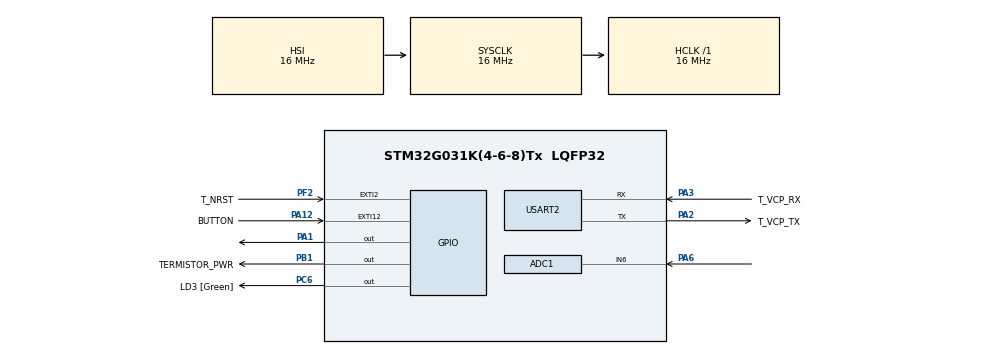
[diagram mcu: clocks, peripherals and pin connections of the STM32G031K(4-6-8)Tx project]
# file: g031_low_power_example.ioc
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ADC1.Channel-0\#ChannelRegularConversion=ADC_CHANNEL_6
ADC1.NbrOfConversionFlag=1
ADC1.Rank-0\#ChannelRegularConversion=1
ADC1.SamplingTime-0\#ChannelRegularConversion=ADC_SAMPLINGTIME_COMMON_1
ADC1.SelectedChannel=ADC_CHANNEL_6
ADC1.master=1
LPTIM1.ClockPrescaler=LPTIM_PRESCALER_DIV8
LPTIM1.UpdateMode=LPTIM_UPDATE_ENDOFPERIOD
Mcu.Family=STM32G0
Mcu.Name=STM32G031K(4-6-8)Tx
Mcu.Package=LQFP32
NVIC.EXTI2_3_IRQn=true\:0\:0\:false\:false\:true\:true\:true\:true
NVIC.EXTI4_15_IRQn=true\:0\:0\:false\:false\:true\:true\:true\:true
NVIC.LPTIM1_IRQn=true\:0\:0\:false\:false\:true\:true\:true\:true
PA1.Signal=GPIO_Output
PA12\ [PA10].GPIO_Label=BUTTON
PA12\ [PA10].GPIO_ModeDefaultEXTI=GPIO_MODE_IT_FALLING
PA12\ [PA10].GPIO_PuPd=GPIO_PULLUP
PA12\ [PA10].Signal=GPXTI12
PA13.GPIO_Label=T_JTMS
PA13.Mode=Serial_Wire
PA13.Signal=SYS_SWDIO
PA14-BOOT0.GPIO_Label=T_JTCK
PA14-BOOT0.Mode=Serial_Wire
PA14-BOOT0.Signal=SYS_SWCLK
PA2.GPIO_Label=T_VCP_TX
PA2.GPIO_PuPd=GPIO_PULLUP
PA2.Mode=Asynchronous
PA2.Signal=USART2_TX
PA3.GPIO_Label=T_VCP_RX
PA3.GPIO_PuPd=GPIO_PULLUP
PA3.Mode=Asynchronous
PA3.Signal=USART2_RX
PA6.Mode=IN6
PA6.Signal=ADC1_IN6
PB1.GPIO_Label=TERMISTOR_PWR
PB1.Signal=GPIO_Output
PC14-OSC32_IN\ (PC14).Mode=LSE-External-Oscillator
PC14-OSC32_IN\ (PC14).Signal=RCC_OSC32_IN
PC15-OSC32_OUT\ (PC15).Mode=LSE-External-Oscillator
PC15-OSC32_OUT\ (PC15).Signal=RCC_OSC32_OUT
PC6.GPIO_Label=LD3 [Green]
PC6.Signal=GPIO_Output
PF2\ -\ NRST.GPIO_Label=T_NRST
PF2\ -\ NRST.Signal=GPXTI2
ProjectManager.HeapSize=0x200
ProjectManager.StackSize=0x400
ProjectManager.TargetToolchain=STM32CubeIDE
RCC.AHBFreq_Value=16000000
RCC.CortexFreq_Value=16000000
RCC.EXTERNAL_CLOCK_VALUE=12288000
RCC.HCLKFreq_Value=16000000
RCC.HSE_VALUE=8000000
RCC.HSI_VALUE=16000000
RCC.LPTIM1CLockSelection=RCC_LPTIM1CLKSOURCE_LSE
RCC.SYSCLKFreq_VALUE=16000000
RCC.VCOOutputFreq_Value=128000000
USART2.VirtualMode-Asynchronous=VM_ASYNC
USART2.WordLength=WORDLENGTH_8B
VP_LPTIM1_VS_LPTIM_counterModeInternalClock.Mode=Counts__internal_clock_event_00
board=NUCLEO-G031K8

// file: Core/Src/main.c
/* USER CODE BEGIN Header */
/**
  ******************************************************************************
  * @file           : main.c
  * @brief          : Main program body
  ******************************************************************************
  * @attention
  *
  * Copyright (c) 2022 STMicroelectronics.
  * All rights reserved.
  *
  * This software is licensed under terms that can be found in the LICENSE file
  * in the root directory of this software component.
  * If no LICENSE file comes with this software, it is provided AS-IS.
  *
  ******************************************************************************
  */
/* USER CODE END Header */
#include "main.h"

/* USER CODE BEGIN Includes */
#include <stdio.h>
#include <math.h>
#include <string.h>
/* USER CODE END Includes */

/* USER CODE BEGIN PD */
#define RESISTOR_REAL_VALUE 10000
#define Termistor_on() HAL_GPIO_WritePin(TERMISTOR_PWR_GPIO_Port, TERMISTOR_PWR_Pin, GPIO_PIN_SET)
#define Termistor_off() HAL_GPIO_WritePin(TERMISTOR_PWR_GPIO_Port, TERMISTOR_PWR_Pin, GPIO_PIN_RESET)
/* USER CODE END PD */

ADC_HandleTypeDef hadc1;

LPTIM_HandleTypeDef hlptim1;

UART_HandleTypeDef huart2;

/* USER CODE BEGIN PV */
volatile uint32_t timer_last_press;
volatile uint8_t sleep_flag;
/* USER CODE END PV */

void SystemClock_Config(void);
static void MX_GPIO_Init(void);
static void MX_USART2_UART_Init(void);
static void MX_ADC1_Init(void);
static void MX_LPTIM1_Init(void);
/* USER CODE BEGIN PFP */
void HAL_LPTIM_CompareMatchCallback(LPTIM_HandleTypeDef *hlptim);
void HAL_GPIO_EXTI_Callback(uint16_t GPIO_Pin);
float getTempFromTermistor(uint16_t adc_val);
size_t __write(int handle, const unsigned char * buffer, size_t size)
{
  HAL_UART_Transmit(&huart2, (uint8_t *) buffer, size, HAL_MAX_DELAY);
  return size;
}
int __io_putchar(int ch)
{
  HAL_UART_Transmit(&huart2, (uint8_t *)&ch, 1, HAL_MAX_DELAY);
  return ch;
}
/* USER CODE END PFP */

int main(void)
{

  /* MCU Configuration--------------------------------------------------------*/

  /* Reset of all peripherals, Initializes the Flash interface and the Systick. */
  HAL_Init();

  /* Configure the system clock */
  SystemClock_Config();

  /* Initialize all configured peripherals */
  MX_GPIO_Init();
  MX_USART2_UART_Init();
  MX_ADC1_Init();
  MX_LPTIM1_Init();
  /* USER CODE BEGIN 2 */
  HAL_LPTIM_TimeOut_Start_IT(&hlptim1, 65536-1, 32768-1);
  printf("\r\n========Start low power test=======\r\n");

  /* USER CODE END 2 */

  /* Infinite loop */
  while (1)
  {

    /* USER CODE BEGIN 3 */
	  HAL_ADC_Start(&hadc1);
	  HAL_ADC_PollForConversion(&hadc1, HAL_MAX_DELAY);
	  char buff[32];
	  uint16_t adc_val = HAL_ADC_GetValue(&hadc1);
	  float temp = getTempFromTermistor(adc_val);
	  sprintf(buff, "Temperature %.1f*C\r\n", temp);
	  printf(buff);
	  if (HAL_GetTick() - timer_last_press > 15){
		  printf("go sleep\r\n");
		  Termistor_off();
	 	  sleep_flag = 1;
	 	  HAL_SuspendTick();
	 	  HAL_PWR_EnableSleepOnExit();
	 	  //HAL_PWR_EnterSTOPMode(PWR_MAINREGULATOR_ON, PWR_STOPENTRY_WFI);
	 	  HAL_PWR_EnterSLEEPMode(PWR_MAINREGULATOR_ON, PWR_STOPENTRY_WFI);
	 }
  }
  /* USER CODE END 3 */
}

void SystemClock_Config(void)
{
  RCC_OscInitTypeDef RCC_OscInitStruct = {0};
  RCC_ClkInitTypeDef RCC_ClkInitStruct = {0};

  /** Configure the main internal regulator output voltage
  */
  HAL_PWREx_ControlVoltageScaling(PWR_REGULATOR_VOLTAGE_SCALE1);

  /** Configure LSE Drive Capability
  */
  HAL_PWR_EnableBkUpAccess();
  __HAL_RCC_LSEDRIVE_CONFIG(RCC_LSEDRIVE_LOW);

  /** Initializes the RCC Oscillators according to the specified parameters
  * in the RCC_OscInitTypeDef structure.
  */
  RCC_OscInitStruct.OscillatorType = RCC_OSCILLATORTYPE_HSI|RCC_OSCILLATORTYPE_LSE;
  RCC_OscInitStruct.LSEState = RCC_LSE_ON;
  RCC_OscInitStruct.HSIState = RCC_HSI_ON;
  RCC_OscInitStruct.HSIDiv = RCC_HSI_DIV1;
  RCC_OscInitStruct.HSICalibrationValue = RCC_HSICALIBRATION_DEFAULT;
  RCC_OscInitStruct.PLL.PLLState = RCC_PLL_NONE;
  if (HAL_RCC_OscConfig(&RCC_OscInitStruct) != HAL_OK)
  {
    Error_Handler();
  }

  /** Initializes the CPU, AHB and APB buses clocks
  */
  RCC_ClkInitStruct.ClockType = RCC_CLOCKTYPE_HCLK|RCC_CLOCKTYPE_SYSCLK
                              |RCC_CLOCKTYPE_PCLK1;
  RCC_ClkInitStruct.SYSCLKSource = RCC_SYSCLKSOURCE_HSI;
  RCC_ClkInitStruct.AHBCLKDivider = RCC_SYSCLK_DIV1;
  RCC_ClkInitStruct.APB1CLKDivider = RCC_HCLK_DIV1;

  if (HAL_RCC_ClockConfig(&RCC_ClkInitStruct, FLASH_LATENCY_0) != HAL_OK)
  {
    Error_Handler();
  }
}

static void MX_ADC1_Init(void)
{

  ADC_ChannelConfTypeDef sConfig = {0};

  /** Configure the global features of the ADC (Clock, Resolution, Data Alignment and number of conversion)
  */
  hadc1.Instance = ADC1;
  hadc1.Init.ClockPrescaler = ADC_CLOCK_SYNC_PCLK_DIV2;
  hadc1.Init.Resolution = ADC_RESOLUTION_12B;
  hadc1.Init.DataAlign = ADC_DATAALIGN_RIGHT;
  hadc1.Init.ScanConvMode = ADC_SCAN_DISABLE;
  hadc1.Init.EOCSelection = ADC_EOC_SINGLE_CONV;
  hadc1.Init.LowPowerAutoWait = DISABLE;
  hadc1.Init.LowPowerAutoPowerOff = DISABLE;
  hadc1.Init.ContinuousConvMode = DISABLE;
  hadc1.Init.NbrOfConversion = 1;
  hadc1.Init.DiscontinuousConvMode = DISABLE;
  hadc1.Init.ExternalTrigConv = ADC_SOFTWARE_START;
  hadc1.Init.ExternalTrigConvEdge = ADC_EXTERNALTRIGCONVEDGE_NONE;
  hadc1.Init.DMAContinuousRequests = DISABLE;
  hadc1.Init.Overrun = ADC_OVR_DATA_PRESERVED;
  hadc1.Init.SamplingTimeCommon1 = ADC_SAMPLETIME_1CYCLE_5;
  hadc1.Init.SamplingTimeCommon2 = ADC_SAMPLETIME_1CYCLE_5;
  hadc1.Init.OversamplingMode = DISABLE;
  hadc1.Init.TriggerFrequencyMode = ADC_TRIGGER_FREQ_HIGH;
  if (HAL_ADC_Init(&hadc1) != HAL_OK)
  {
    Error_Handler();
  }

  /** Configure Regular Channel
  */
  sConfig.Channel = ADC_CHANNEL_6;
  sConfig.Rank = ADC_REGULAR_RANK_1;
  sConfig.SamplingTime = ADC_SAMPLINGTIME_COMMON_1;
  if (HAL_ADC_ConfigChannel(&hadc1, &sConfig) != HAL_OK)
  {
    Error_Handler();
  }

}

static void MX_LPTIM1_Init(void)
{

  hlptim1.Instance = LPTIM1;
  hlptim1.Init.Clock.Source = LPTIM_CLOCKSOURCE_APBCLOCK_LPOSC;
  hlptim1.Init.Clock.Prescaler = LPTIM_PRESCALER_DIV8;
  hlptim1.Init.Trigger.Source = LPTIM_TRIGSOURCE_SOFTWARE;
  hlptim1.Init.OutputPolarity = LPTIM_OUTPUTPOLARITY_HIGH;
  hlptim1.Init.UpdateMode = LPTIM_UPDATE_ENDOFPERIOD;
  hlptim1.Init.CounterSource = LPTIM_COUNTERSOURCE_INTERNAL;
  hlptim1.Init.Input1Source = LPTIM_INPUT1SOURCE_GPIO;
  hlptim1.Init.Input2Source = LPTIM_INPUT2SOURCE_GPIO;
  if (HAL_LPTIM_Init(&hlptim1) != HAL_OK)
  {
    Error_Handler();
  }

}

static void MX_USART2_UART_Init(void)
{

  huart2.Instance = USART2;
  huart2.Init.BaudRate = 115200;
  huart2.Init.WordLength = UART_WORDLENGTH_8B;
  huart2.Init.StopBits = UART_STOPBITS_1;
  huart2.Init.Parity = UART_PARITY_NONE;
  huart2.Init.Mode = UART_MODE_TX_RX;
  huart2.Init.HwFlowCtl = UART_HWCONTROL_NONE;
  huart2.Init.OverSampling = UART_OVERSAMPLING_16;
  huart2.Init.OneBitSampling = UART_ONE_BIT_SAMPLE_DISABLE;
  huart2.Init.ClockPrescaler = UART_PRESCALER_DIV1;
  huart2.AdvancedInit.AdvFeatureInit = UART_ADVFEATURE_NO_INIT;
  if (HAL_UART_Init(&huart2) != HAL_OK)
  {
    Error_Handler();
  }

}

static void MX_GPIO_Init(void)
{
  GPIO_InitTypeDef GPIO_InitStruct = {0};

  /* GPIO Ports Clock Enable */
  __HAL_RCC_GPIOC_CLK_ENABLE();
  __HAL_RCC_GPIOF_CLK_ENABLE();
  __HAL_RCC_GPIOA_CLK_ENABLE();
  __HAL_RCC_GPIOB_CLK_ENABLE();

  /*Configure GPIO pin Output Level */
  HAL_GPIO_WritePin(GPIOA, GPIO_PIN_1, GPIO_PIN_RESET);

  /*Configure GPIO pin Output Level */
  HAL_GPIO_WritePin(TERMISTOR_PWR_GPIO_Port, TERMISTOR_PWR_Pin, GPIO_PIN_RESET);

  /*Configure GPIO pin Output Level */
  HAL_GPIO_WritePin(LD3_GPIO_Port, LD3_Pin, GPIO_PIN_RESET);

  /*Configure GPIO pin : T_NRST_Pin */
  GPIO_InitStruct.Pin = T_NRST_Pin;
  GPIO_InitStruct.Mode = GPIO_MODE_IT_RISING;
  GPIO_InitStruct.Pull = GPIO_NOPULL;
  HAL_GPIO_Init(T_NRST_GPIO_Port, &GPIO_InitStruct);

  /*Configure GPIO pin : PA1 */
  GPIO_InitStruct.Pin = GPIO_PIN_1;
  GPIO_InitStruct.Mode = GPIO_MODE_OUTPUT_PP;
  GPIO_InitStruct.Pull = GPIO_NOPULL;
  GPIO_InitStruct.Speed = GPIO_SPEED_FREQ_LOW;
  HAL_GPIO_Init(GPIOA, &GPIO_InitStruct);

  /*Configure GPIO pin : TERMISTOR_PWR_Pin */
  GPIO_InitStruct.Pin = TERMISTOR_PWR_Pin;
  GPIO_InitStruct.Mode = GPIO_MODE_OUTPUT_PP;
  GPIO_InitStruct.Pull = GPIO_NOPULL;
  GPIO_InitStruct.Speed = GPIO_SPEED_FREQ_LOW;
  HAL_GPIO_Init(TERMISTOR_PWR_GPIO_Port, &GPIO_InitStruct);

  /*Configure GPIO pin : LD3_Pin */
  GPIO_InitStruct.Pin = LD3_Pin;
  GPIO_InitStruct.Mode = GPIO_MODE_OUTPUT_PP;
  GPIO_InitStruct.Pull = GPIO_NOPULL;
  GPIO_InitStruct.Speed = GPIO_SPEED_FREQ_LOW;
  HAL_GPIO_Init(LD3_GPIO_Port, &GPIO_InitStruct);

  /*Configure GPIO pin : BUTTON_Pin */
  GPIO_InitStruct.Pin = BUTTON_Pin;
  GPIO_InitStruct.Mode = GPIO_MODE_IT_FALLING;
  GPIO_InitStruct.Pull = GPIO_PULLUP;
  HAL_GPIO_Init(BUTTON_GPIO_Port, &GPIO_InitStruct);

  /* EXTI interrupt init*/
  HAL_NVIC_SetPriority(EXTI2_3_IRQn, 0, 0);
  HAL_NVIC_EnableIRQ(EXTI2_3_IRQn);

  HAL_NVIC_SetPriority(EXTI4_15_IRQn, 0, 0);
  HAL_NVIC_EnableIRQ(EXTI4_15_IRQn);

}

/* USER CODE BEGIN 4 */
void HAL_LPTIM_CompareMatchCallback(LPTIM_HandleTypeDef *hlptim){
	printf("LPTIM callback\r\n");
	HAL_GPIO_TogglePin(LD3_GPIO_Port, LD3_Pin);
	HAL_GPIO_TogglePin(GPIOA, GPIO_PIN_1);
	if (sleep_flag == 1){
		SystemClock_Config();
		HAL_ResumeTick();
		printf("wake up\r\n");
		HAL_PWR_DisableSleepOnExit();
		sleep_flag = 0;
		Termistor_on();
		timer_last_press = HAL_GetTick();
	}
}

void HAL_GPIO_EXTI_Falling_Callback(uint16_t GPIO_Pin){

	if (GPIO_Pin == BUTTON_Pin || GPIO_Pin == GPIO_PIN_2){
		if (sleep_flag == 1){
			HAL_ResumeTick();
			printf("wake up\r\n");
			HAL_PWR_DisableSleepOnExit();
			Termistor_on();
			sleep_flag = 0;
		}
		timer_last_press = HAL_GetTick();
		HAL_GPIO_TogglePin(LD3_GPIO_Port, LD3_Pin);
		//NVIC_SystemReset();
	}
}
float getTempFromTermistor(uint16_t adc_val){
	float temp;
	temp = RESISTOR_REAL_VALUE / (4095.0f / adc_val -1.0f);
	temp /= 10000;
	temp = (float)log(temp) / 3950.0f;
	temp += (float) 1.0f / (25.0f + 273.15f);
	temp = 1/temp - 273.15;
	return temp;
}
/* USER CODE END 4 */

void Error_Handler(void)
{
  __disable_irq();
  while (1)
  {
  }
}
